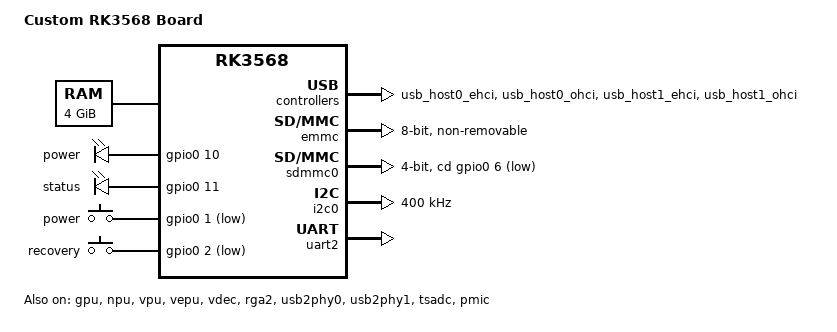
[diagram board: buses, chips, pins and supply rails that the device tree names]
// SPDX-License-Identifier: (GPL-2.0+ OR MIT)
/*
 * Device Tree for Custom RK3568 Board
 * Template for new hardware designs
 *
 * Copyright (C) 2024 Sebastian
 * All rights reserved.
 *
 * INSTRUCTIONS:
 * 1. Copy this file and rename to rk3568-your-board.dts
 * 2. Update model and compatible strings
 * 3. Configure memory size (reg property)
 * 4. Define reserved memory regions as needed
 * 5. Enable/disable peripherals as per your hardware
 * 6. Configure pinctrl for your specific GPIO assignments
 * 7. Test and adjust based on your hardware
 */

/dts-v1/;
#include "rk3568.dtsi"

/ {
	/* TODO: Update model name */
	model = "Custom RK3568 Board";
	compatible = "custom,board", "rockchip,rk3568";

	/* Memory Configuration - Adjust based on your board's RAM */
	/* 
	 * Examples:
	 * 2GB: reg = <0x0 0x0 0x0 0x80000000>;
	 * 4GB: reg = <0x0 0x0 0x0 0x100000000>;
	 * 8GB: reg = <0x0 0x0 0x2 0x00000000>;
	 */
	memory@0 {
		device_type = "memory";
		reg = <0x0 0x0 0x0 0x100000000>;  /* 4GB default */
	};

	/* Reserved Memory Regions - Adjust based on your needs */
	reserved-memory {
		#address-cells = <2>;
		#size-cells = <2>;
		ranges;

		/* Bootloader Region - Keep this */
		bootloader@0 {
			reg = <0x0 0x00000000 0x0 0x01000000>;
			no-map;
			status = "okay";
		};

		/* U-Boot Environment - Keep this */
		uboot_env@1000000 {
			reg = <0x0 0x01000000 0x0 0x01000000>;
			no-map;
			status = "okay";
		};

		/* Linux Kernel - Adjust size if needed */
		kernel@2000000 {
			reg = <0x0 0x02000000 0x0 0x0E000000>;
			no-map;
			status = "okay";
		};

		/* Device Tree Blob */
		dtb@10000000 {
			reg = <0x0 0x10000000 0x0 0x01000000>;
			no-map;
			status = "okay";
		};

		/* Reserved System Region - Adjust size */
		reserved@11000000 {
			reg = <0x0 0x11000000 0x0 0x0F000000>;
			no-map;
			status = "okay";
		};

		/* NPU Memory Pool - Enable if using NPU */
		/* Adjust size based on your AI workload */
		npu_memory: npu@20000000 {
			reg = <0x0 0x20000000 0x0 0x08000000>;  /* 128MB */
			no-map;
			status = "okay";  /* Set to "disabled" if no NPU */
		};

		/* GPU Memory Pool - Enable if using GPU */
		gpu_memory: gpu@28000000 {
			reg = <0x0 0x28000000 0x0 0x08000000>;  /* 128MB */
			no-map;
			status = "okay";  /* Set to "disabled" if no GPU */
		};

		/* VPU/Camera Buffers - CMA region */
		vpu_memory: vpu@30000000 {
			compatible = "shared-dma-pool";
			reg = <0x0 0x30000000 0x0 0x10000000>;  /* 256MB */
			reusable;
			status = "okay";  /* Set to "disabled" if no video */
		};

		/* Optional: Secure Memory Region */
		secure_memory: secure@40000000 {
			reg = <0x0 0x40000000 0x0 0x01000000>;
			no-map;
			status = "disabled";  /* Enable if using secure features */
		};

		/* Optional: OP-TEE Memory */
		optee_memory: optee@41000000 {
			reg = <0x0 0x41000000 0x0 0x02000000>;
			no-map;
			status = "disabled";  /* Enable if using OP-TEE */
		};
	};

	/* Board-Specific Properties */
	chosen {
		stdout-path = &uart2;
		/* Update UART and root device as per your board */
		bootargs = "console=ttyS2,1500000 earlycon=uart8250,mmio32,0xfe660000 root=/dev/mmcblk0p5 rw rootwait";
	};

	/* GPIO LEDs - Update GPIO pins as per your board */
	leds {
		compatible = "gpio-leds";
		status = "okay";

		power_led: power {
			gpios = <&gpio0 10 GPIO_ACTIVE_HIGH>;
			label = "power";
			linux,default-trigger = "heartbeat";
		};

		status_led: status {
			gpios = <&gpio0 11 GPIO_ACTIVE_HIGH>;
			label = "status";
			linux,default-trigger = "mmc0";
		};
	};

	/* Fan Control - Remove if no fan */
	fan0: pwm-fan {
		compatible = "pwm-fan";
		cooling-levels = <0 128 192 255>;
		#cooling-cells = <2>;
		pwms = <&pwm0 0 10000 0>;
		status = "disabled";  /* Enable if fan present */
	};

	/* SDIO Power Sequence - Enable if using Wi-Fi */
	sdio_pwrseq: sdio-pwrseq {
		compatible = "mmc-pwrseq-simple";
		clocks = <&pmucru CLK_RTC_32K>;
		clock-names = "ext_clock";
		pinctrl-names = "default";
		pinctrl-0 = <&wifi_enable_h>;
		post-power-on-delay-ms = <200>;
		reset-gpios = <&gpio0 12 GPIO_ACTIVE_LOW>;
		status = "disabled";  /* Enable if Wi-Fi present */
	};

	/* Wi-Fi/BT - Enable if present */
	wireless {
		compatible = "brcm,bcm4329-fmac";
		interrupt-parent = <&gpio0>;
		interrupts = <13 IRQ_TYPE_LEVEL_HIGH>;
		interrupt-names = "host-wake";
		pinctrl-names = "default";
		pinctrl-0 = <&wifi_host_wake>;
		status = "disabled";  /* Enable if Wi-Fi present */
	};
};

/* ============================================================ */
/* CPU Configuration - Usually keep these as-is                  */
/* ============================================================ */

&cpu0 {
	cpu-supply = <&vdd_cpu>;
	operating-points-v2 = <&cpu0_opp_table>;
};

&cpu0_opp_table {
	opp-408000000 {
		opp-hz = /bits/ 64 <408000000>;
		opp-microvolt = <900000>;
	};
	opp-600000000 {
		opp-hz = /bits/ 64 <600000000>;
		opp-microvolt = <900000>;
	};
	opp-816000000 {
		opp-hz = /bits/ 64 <816000000>;
		opp-microvolt = <1000000>;
	};
	opp-1008000000 {
		opp-hz = /bits/ 64 <1008000000>;
		opp-microvolt = <1100000>;
	};
	opp-1200000000 {
		opp-hz = /bits/ 64 <1200000000>;
		opp-microvolt = <1200000>;
	};
	opp-1404000000 {
		opp-hz = /bits/ 64 <1404000000>;
		opp-microvolt = <1300000>;
	};
	opp-1608000000 {
		opp-hz = /bits/ 64 <1608000000>;
		opp-microvolt = <1350000>;
	};
	opp-1800000000 {
		opp-hz = /bits/ 64 <1800000000>;
		opp-microvolt = <1400000>;
	};
	opp-2000000000 {
		opp-hz = /bits/ 64 <2000000000>;
		opp-microvolt = <1425000>;
	};
};

/* ============================================================ */
/* GPU Configuration - Enable/disable based on your board       */
/* ============================================================ */

&gpu {
	status = "okay";  /* Set to "disabled" if no GPU */
	mali-supply = <&vdd_gpu>;
	operating-points-v2 = <&gpu_opp_table>;
};

&gpu_opp_table {
	opp-200000000 {
		opp-hz = /bits/ 64 <200000000>;
		opp-microvolt = <900000>;
	};
	opp-300000000 {
		opp-hz = /bits/ 64 <300000000>;
		opp-microvolt = <900000>;
	};
	opp-400000000 {
		opp-hz = /bits/ 64 <400000000>;
		opp-microvolt = <950000>;
	};
	opp-600000000 {
		opp-hz = /bits/ 64 <600000000>;
		opp-microvolt = <1000000>;
	};
	opp-800000000 {
		opp-hz = /bits/ 64 <800000000>;
		opp-microvolt = <1050000>;
	};
};

/* ============================================================ */
/* NPU Configuration - Enable/disable based on your board      */
/* ============================================================ */

&npu {
	status = "okay";  /* Set to "disabled" if no NPU */
	rockchip,memory-reserved = <&npu_memory>;
	operating-points-v2 = <&npu_opp_table>;
};

&npu_opp_table {
	opp-400000000 {
		opp-hz = /bits/ 64 <400000000>;
		opp-microvolt = <900000>;
	};
	opp-600000000 {
		opp-hz = /bits/ 64 <600000000>;
		opp-microvolt = <950000>;
	};
	opp-800000000 {
		opp-hz = /bits/ 64 <800000000>;
		opp-microvolt = <1000000>;
	};
	opp-1000000000 {
		opp-hz = /bits/ 64 <1000000000>;
		opp-microvolt = <1100000>;
	};
};

/* ============================================================ */
/* VPU Configuration - Enable/disable based on your board      */
/* ============================================================ */

&vpu {
	status = "okay";  /* Set to "disabled" if no VPU */
	assigned-clocks = <&cru ACLK_VPU>, <&cru HCLK_VPU>;
	assigned-clock-rates = <400000000>, <200000000>;
};

&vepu {
	status = "okay";
};

&vdec {
	status = "okay";
};

&rga2 {
	status = "okay";
};

/* ============================================================ */
/* USB Configuration - Enable based on your USB ports          */
/* ============================================================ */

&usb_host0_ehci {
	status = "okay";  /* Set to "disabled" if no USB */
};

&usb_host0_ohci {
	status = "okay";
};

&usb_host1_ehci {
	status = "okay";
};

&usb_host1_ohci {
	status = "okay";
};

&usb2phy0 {
	status = "okay";
};

&usb2phy1 {
	status = "okay";
};

/* ============================================================ */
/* SATA Configuration - Enable if SATA ports present           */
/* ============================================================ */

&sata0 {
	status = "disabled";  /* Set to "okay" if SATA present */
};

&sata1 {
	status = "disabled";
};

&sata2 {
	status = "disabled";
};

/* ============================================================ */
/* PCIe Configuration - Enable if PCIe present                 */
/* ============================================================ */

&pcie2x1 {
	status = "disabled";  /* Set to "okay" if PCIe present */
	reset-gpios = <&gpio1 13 GPIO_ACTIVE_HIGH>;
	pinctrl-names = "default";
	pinctrl-0 = <&pcie20_pins>;
};

&pcie30phy {
	status = "disabled";  /* Set to "okay" if PCIe present */
};

/* ============================================================ */
/* Ethernet - Enable if Ethernet ports present                  */
/* ============================================================ */

&gmac0 {
	status = "disabled";  /* Set to "okay" if Ethernet present */
	phy-mode = "rgmii";
	clock_in_out = "output";
	snps,reset-gpio = <&gpio2 18 GPIO_ACTIVE_LOW>;
	snps,reset-active-low;
	snps,reset-delays-us = <0 20000 100000>;
	pinctrl-names = "default";
	pinctrl-0 = <&gmac0_miim>;
};

&gmac1 {
	status = "disabled";
	phy-mode = "rgmii";
	clock_in_out = "output";
	snps,reset-gpio = <&gpio2 19 GPIO_ACTIVE_LOW>;
	snps,reset-active-low;
	snps,reset-delays-us = <0 20000 100000>;
	pinctrl-names = "default";
	pinctrl-0 = <&gmac1_miim>;
};

/* ============================================================ */
/* eMMC Configuration - Enable if eMMC present                 */
/* ============================================================ */

&emmc {
	status = "okay";  /* Set to "disabled" if no eMMC */
	bus-width = <8>;
	cap-mmc-highspeed;
	mmc-hs200-1_8v;
	mmc-hs400-1_8v;
	supports-emmc;
	no-sdio;
	no-sd;
	non-removable;
	max-frequency = <200000000>;
};

/* ============================================================ */
/* SD Card - Enable if SD card slot present                    */
/* ============================================================ */

&sdmmc0 {
	status = "okay";  /* Set to "disabled" if no SD slot */
	bus-width = <4>;
	cap-sd-highspeed;
	cd-gpios = <&gpio0 6 GPIO_ACTIVE_LOW>;
	disable-wp;
	pinctrl-names = "default";
	pinctrl-0 = <&sdmmc0_bus4 &sdmmc0_clk &sdmmc0_cmd &sdmmc0_detect>;
	max-frequency = <150000000>;
};

/* ============================================================ */
/* SDIO - Enable for Wi-Fi                                      */
/* ============================================================ */

&sdmmc1 {
	status = "disabled";  /* Set to "okay" if Wi-Fi present */
	bus-width = <4>;
	cap-sdio-irq;
	cap-sd-highspeed;
	keep-power-in-suspend;
	mmc-pwrseq = <&sdio_pwrseq>;
	non-removable;
	pinctrl-names = "default";
	pinctrl-0 = <&sdmmc1_bus4 &sdmmc1_clk &sdmmc1_cmd>;
	sd-uhs-sdr104;
	supports-sdio;
};

/* ============================================================ */
/* SPI - Enable if SPI devices present                          */
/* ============================================================ */

&spi0 {
	status = "disabled";  /* Set to "okay" if SPI present */
	pinctrl-names = "default";
	pinctrl-0 = <&spi0m1_cs0 &spi0m1_pins>;
};

&spi1 {
	status = "disabled";
	pinctrl-names = "default";
	pinctrl-0 = <&spi1m1_cs0 &spi1m1_pins>;
};

/* ============================================================ */
/* I2C - Enable if I2C devices present                        */
/* ============================================================ */

&i2c0 {
	status = "okay";  /* Usually enabled for PMIC */
	clock-frequency = <400000>;
	pinctrl-names = "default";
	pinctrl-0 = <&i2c0_xfer>;
};

&i2c1 {
	status = "disabled";
	clock-frequency = <400000>;
	pinctrl-names = "default";
	pinctrl-0 = <&i2c1_xfer>;
};

&i2c2 {
	status = "disabled";
	clock-frequency = <400000>;
	pinctrl-names = "default";
	pinctrl-0 = <&i2c2_xfer>;
};

&i2c3 {
	status = "disabled";
	clock-frequency = <400000>;
	pinctrl-names = "default";
	pinctrl-0 = <&i2c3_xfer>;
};

&i2c4 {
	status = "disabled";
	clock-frequency = <400000>;
	pinctrl-names = "default";
	pinctrl-0 = <&i2c4_xfer>;
};

&i2c5 {
	status = "disabled";
	clock-frequency = <400000>;
	pinctrl-names = "default";
	pinctrl-0 = <&i2c5_xfer>;
};

/* ============================================================ */
/* UART - Enable the one you use for console                   */
/* ============================================================ */

&uart0 {
	status = "disabled";
	pinctrl-names = "default";
	pinctrl-0 = <&uart0_xfer>;
};

&uart1 {
	status = "disabled";
	pinctrl-names = "default";
	pinctrl-0 = <&uart1_xfer>;
};

&uart2 {
	status = "okay";  /* Usually the console UART */
	pinctrl-names = "default";
	pinctrl-0 = <&uart2_xfer>;
};

&uart3 {
	status = "disabled";
	pinctrl-names = "default";
	pinctrl-0 = <&uart3_xfer>;
};

&uart4 {
	status = "disabled";
	pinctrl-names = "default";
	pinctrl-0 = <&uart4_xfer>;
};

&uart5 {
	status = "disabled";
	pinctrl-names = "default";
	pinctrl-0 = <&uart5_xfer>;
};

/* ============================================================ */
/* PWM - Enable if using PWM devices                           */
/* ============================================================ */

&pwm0 {
	status = "disabled";
	pinctrl-names = "default";
	pinctrl-0 = <&pwm0_pins>;
};

&pwm1 {
	status = "disabled";
	pinctrl-names = "default";
	pinctrl-0 = <&pwm1_pins>;
};

&pwm2 {
	status = "disabled";
	pinctrl-names = "default";
	pinctrl-0 = <&pwm2_pins>;
};

&pwm3 {
	status = "disabled";
	pinctrl-names = "default";
	pinctrl-0 = <&pwm3_pins>;
};

/* ============================================================ */
/* Thermal - Enable temperature monitoring                     */
/* ============================================================ */

&thermal_zones {
	cpu_thermal: cpu-thermal {
		polling-delay-passive = <100>;
		polling-delay = <1000>;
		sustainable-power = <4500>;
		thermal-sensors = <&tsadc 0>;

		trips {
			cpu_alert0: cpu-alert0 {
				temperature = <70000>;
				hysteresis = <2000>;
				type = "passive";
			};
			cpu_alert1: cpu-alert1 {
				temperature = <75000>;
				hysteresis = <2000>;
				type = "passive";
			};
			cpu_crit: cpu-crit {
				temperature = <85000>;
				hysteresis = <2000>;
				type = "critical";
			};
		};

		cooling-maps {
			cpu_alert0_cooling {
				trip = <&cpu_alert0>;
				cooling-device = <&fan0 1 2>;
			};
			cpu_alert1_cooling {
				trip = <&cpu_alert1>;
				cooling-device = <&fan0 2 3>;
			};
		};
	};
};

&tsadc {
	status = "okay";
	rockchip,hw-tshut-temp = <85000>;
};

/* ============================================================ */
/* PMIC - Usually enabled                                       */
/* ============================================================ */

&pmic {
	status = "okay";
	compatible = "rockchip,rk3568-pmic";
	system-power-controller;
};

/* ============================================================ */
/* GPIO Keys - Update as per your board buttons                */
/* ============================================================ */

&gpio_keys {
	status = "okay";
	compatible = "gpio-keys";

	power_key: power-key {
		gpios = <&gpio0 1 GPIO_ACTIVE_LOW>;
		label = "power";
		linux,code = <KEY_POWER>;
		debounce-interval = <100>;
		wakeup-source;
	};

	recovery_key: recovery-key {
		gpios = <&gpio0 2 GPIO_ACTIVE_LOW>;
		label = "recovery";
		linux,code = <KEY_RESTART>;
		debounce-interval = <100>;
	};
};

/* ============================================================ */
/* Display - Enable if HDMI/LVDS/MIPI display used             */
/* ============================================================ */

&hdmi {
	status = "disabled";  /* Set to "okay" if HDMI present */
	rockchip,phy-table =
		<74250000 0x8009 0x0000 0x0272>,
		<148500000 0x8029 0x0000 0x0272>,
		<296703000 0x8039 0x0000 0x0272>,
		<594000000 0x8039 0x0000 0x0272>;
};

&hdmi_in_vp0 {
	status = "disabled";
};

&hdmi_in_vp1 {
	status = "disabled";
};

&route_hdmi {
	status = "disabled";
	connect = <&vp0_out_hdmi>;
};

/* ============================================================ */
/* Audio - Enable if audio hardware present                    */
/* ============================================================ */

&i2s0_8ch {
	status = "disabled";
	pinctrl-names = "default";
	pinctrl-0 = <&i2s0_lrck_tx &i2s0_sclk_tx &i2s0_sdi0_tx &i2s0_sdo0_tx>;
};

&i2s1_8ch {
	status = "disabled";
	pinctrl-names = "default";
	pinctrl-0 = <&i2s1_lrck_tx &i2s1_sclk_tx &i2s1_sdi0_tx &i2s1_sdo0_tx>;
};

&i2s2_2ch {
	status = "disabled";
	pinctrl-names = "default";
	pinctrl-0 = <&i2s2_lrck_tx &i2s2_sclk_tx &i2s2_sdi0_tx &i2s2_sdo0_tx>;
};

&codec {
	status = "disabled";
};

/* ============================================================ */
/* Pinctrl - Update GPIO assignments as per your hardware      */
/* ============================================================ */

&pinctrl {
	wifi_enable_h: wifi-enable-h {
		rockchip,pins = <0 RK_PA4 RK_FUNC_GPIO &pcfg_pull_none>;
	};

	wifi_host_wake: wifi-host-wake {
		rockchip,pins = <0 RK_PA5 RK_FUNC_GPIO &pcfg_pull_none>;
	};

	pcie20_pins: pcie20-pins {
		rockchip,pins = <1 RK_PD5 RK_FUNC_GPIO &pcfg_pull_none>;
	};
	
	/* Custom pin configurations */
	/* Add your custom pin groups here */
};
